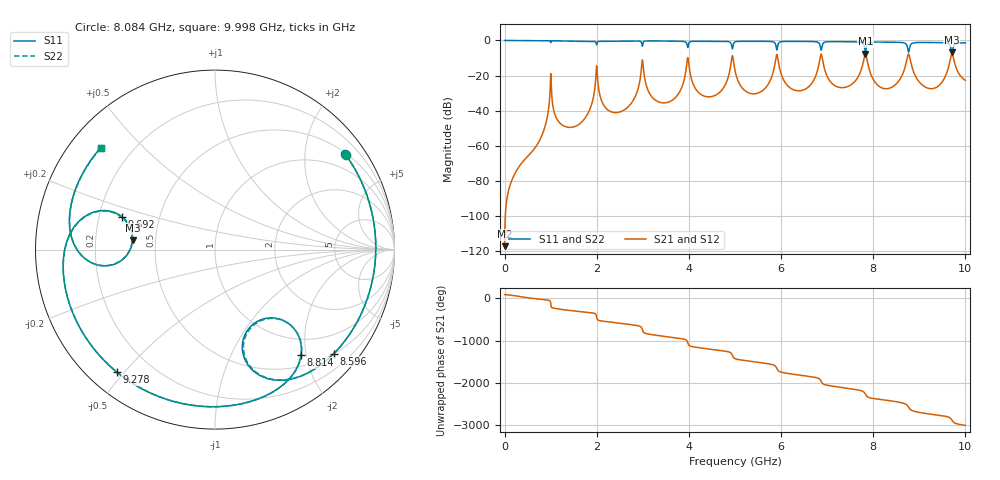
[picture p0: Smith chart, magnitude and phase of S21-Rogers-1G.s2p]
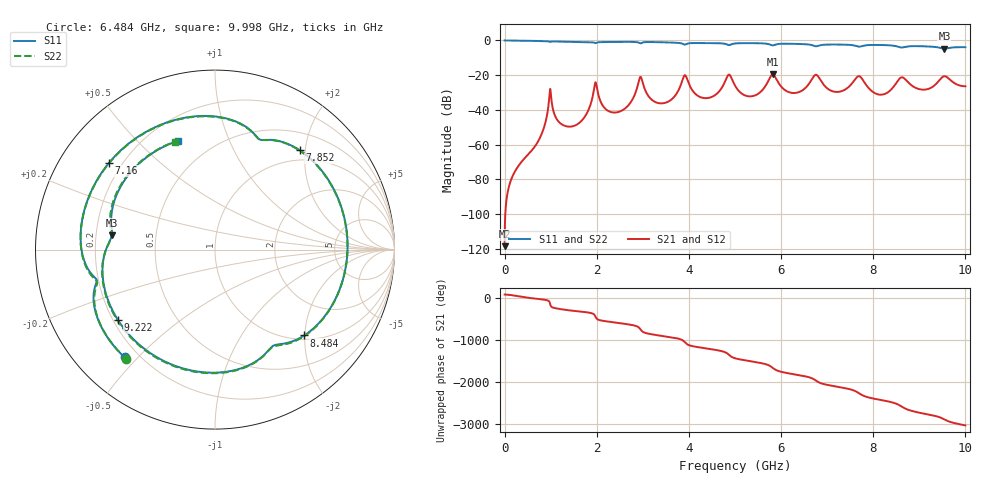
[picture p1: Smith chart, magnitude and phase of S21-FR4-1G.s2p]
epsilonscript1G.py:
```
import skrf as rf
import matplotlib.pyplot as plt
import numpy as np
from scipy.signal import find_peaks

# Parámetros físicos del resonador a 1GHZ para ROGERS4350B
R_rogers = 28.2795114977997e-3             # Radio para 1GHZ
L_rogers = 2 * np.pi * R_rogers # longitud del anillo
c = 3e8                         # Velocidad de la luz en vacio en m/s
H_rogers = 1.524e-3             # Altura del sustrato 
w_rogers = 3.309e-3             # Ancho de las pistas en metros (ejemplo 3 mm)

# Parámetros físicos del resonador a 1GHZ para FR4
R_fr4 = 26.4853775112596e-3                # Radio para 1GHZ
L_fr4 = 2 * np.pi * R_fr4       # longitud del anillo
c = 3e8                         # Velocidad de la luz en vacio en m/s
H_fr4 = 1.56e-3                 # Altura del sustrato 
w_fr4 = 2.85e-3                 # Ancho de las pistas en metros (ejemplo 3 mm)

# Modos de resonancia --> hasta 6GHZ
n_modos = [1,2,3]

# Array para los epsilon_eff y epsilon_r
epsilon_eff_rogers = np.zeros(3)
epsilon_r_rogers = np.zeros(3)

epsilon_eff_fr4 = np.zeros(3)
epsilon_r_fr4 = np.zeros(3)

# Cargar el archivo .s2p 
ntwk_rogers = rf.Network('S21-Rogers-1G.s2p')
ntwk_fr4 = rf.Network('S21-FR4-1G.s2p')

# Extraer el vector de frecuencias (en Hz)
frecuencias_rogers = ntwk_rogers.f  # En Hz
frecuencias_rogers_GHz = frecuencias_rogers / 1e9  # Opcional: convertir a GHz

frecuencias_fr4 = ntwk_fr4.f  # En Hz
frecuencias_fr4_GHz = frecuencias_fr4 / 1e9        # Opcional: convertir a GHz

# Obtener el parámetro S21 (índice [0,1]) en dB
s21_rogers = ntwk_rogers.s[:, 1, 0]                # Complejo
s21_dB_rogers = 20 * np.log10(np.abs(s21_rogers))  # Módulo en dB

s21_fr4 = ntwk_fr4.s[:, 1, 0]                      # Complejo
s21_dB_fr4 = 20 * np.log10(np.abs(s21_fr4))        # Módulo en dB

# Filtrar hasta 6 GHz (6 picos para fundamental de 1GHZ)
mask = frecuencias_rogers_GHz <= 3.5
frecuencias_filtradas_rogers = frecuencias_rogers_GHz[mask]
s21_dB_filtrado_rogers = s21_dB_rogers[mask]

mask = frecuencias_fr4_GHz <= 3.5
frecuencias_filtradas_fr4 = frecuencias_fr4_GHz[mask]
s21_dB_filtrado_fr4 = s21_dB_fr4[mask]

# Detectar picos en el rango filtrado
picos_resonancia_rogers, _ = find_peaks(s21_dB_filtrado_rogers, distance=30, prominence=3)
frecuencias_resonancia_rogers = frecuencias_filtradas_rogers[picos_resonancia_rogers]
frecuencias_resonancia_Hz_rogers = frecuencias_resonancia_rogers * 1e9  # Convertir GHz a Hz

picos_resonancia_fr4, _ = find_peaks(s21_dB_filtrado_fr4, distance=30, prominence=3)
frecuencias_resonancia_fr4 = frecuencias_filtradas_fr4[picos_resonancia_fr4]
frecuencias_resonancia_Hz_fr4 = frecuencias_resonancia_fr4 * 1e9  # Convertir GHz a Hz

# Calcular epsilon efectivo y relativo para cada frecuencia
for i in range(3): # i va de 0 a 5
	epsilon_eff_rogers[i] = (n_modos[i] * c / (2 * np.pi * R_rogers * frecuencias_resonancia_Hz_rogers[i])) ** 2
for i in range(3): # i va de 0 a 5
	epsilon_r_rogers[i] = (2 * epsilon_eff_rogers[i] - (1 - (1 / np.sqrt(1 + 12 * H_rogers / w_rogers)))) / (1 + (1 / np.sqrt(1 + 12 * H_rogers / w_rogers)))

for i in range(3): # i va de 0 a 5
	epsilon_eff_fr4[i] = (n_modos[i] * c / (2 * np.pi * R_fr4 * frecuencias_resonancia_Hz_fr4[i])) ** 2
for i in range(3): # i va de 0 a 5
	epsilon_r_fr4[i] = (2 * epsilon_eff_fr4[i] - (1 - (1 / np.sqrt(1 + 12 * H_fr4 / w_fr4)))) / (1 + (1 / np.sqrt(1 + 12 * H_fr4 / w_fr4)))

# Calcular el promedio de epsilon_r
epsilon_r_promedio_rogers = np.mean(epsilon_r_rogers)
epsilon_r_promedio_fr4 = np.mean(epsilon_r_fr4)

print("\n--- Resultados ROGERS 4350B ---")
print(f"Frecuencias de Resonancia (GHz): {frecuencias_resonancia_rogers}")
print(f"Valores de Epsilon efectivo (εeff): {epsilon_eff_rogers}")
print(f"Valores de Epsilon Relativo (εr): {epsilon_r_rogers}")
print(f"Epsilon Relativo Promedio (εr promedio): {epsilon_r_promedio_rogers:.3f}")

print("\n--- Resultados FR4 ---")
print(f"Frecuencias de Resonancia (GHz): {frecuencias_resonancia_fr4}")
print(f"Valores de Epsilon efectivo (εeff): {epsilon_eff_fr4}")
print(f"Valores de Epsilon Relativo (εr): {epsilon_r_fr4}")
print(f"Epsilon Relativo Promedio (εr promedio): {epsilon_r_promedio_fr4:.3f}")

#Grafico
plt.figure()
# Curva ROGERS 4350B
plt.plot(frecuencias_resonancia_rogers, epsilon_r_rogers, color='r', label='εr ROGERS')
plt.axhline(y=epsilon_r_promedio_rogers, color='r', linestyle='--', label=f'Promedio εr ROGERS = {epsilon_r_promedio_rogers:.3f}')
# Curva FR4
plt.plot(frecuencias_resonancia_fr4, epsilon_r_fr4, color='b', label='εr FR4')
plt.axhline(y=epsilon_r_promedio_fr4, color='b', linestyle='--', label=f'Promedio εr FR4 = {epsilon_r_promedio_fr4:.3f}')
# Etiquetas y formato
plt.xlabel('Frecuencias de resonancia(GHz)')
plt.ylabel('εr(f)')
plt.title('ROGERS 4350B vs FR4 a 1GHZ')
plt.grid(True)
plt.ylim(3, 5)
plt.legend(title='Materiales')
plt.tight_layout()
plt.show()
```
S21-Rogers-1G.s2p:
! TOUCHSTONE file generated by CST MICROWAVE STUDIO
! Date and time: Sun Jun 29 11:36:11 2025
! Project name: ResonadorAnillo.cst
! Parameters = {Eeff=2.85062; Er=3.66; H=1.524; L1=44.4214; L2=44.4214; Landa=177.685; T=0.017; W=3.30928; Wa=3.30928; X=121.031; Y=121.031; c=3e+11; f=1e+09; r=28.2795; s=0.3}
! Header version: 2024
! Port assignment regex: !\s*Touchstone port\s*([0-9]+)\s*=\s*(CST MWS port|CST DES external port|CST DES block port)\s*(.+)\s* \(\"(.*)\"\)(\s*mode\s*([0-9]+))?.*
! Touchstone port assignment:
! Touchstone port 1 = CST MWS port 1 ("")
! Touchstone port 2 = CST MWS port 2 ("")
# GHz S DB R 50
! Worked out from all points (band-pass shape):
!   5000 points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, 2 MHz to 10 GHz, reference 50 ohm
!   highest |S21| = -7.58 dB at 7.83 GHz (marker M1); lowest = -117.2 dB at 2 MHz (marker M2)
!   |S21| within 3 dB of the highest: 8.733 GHz to 8.801 GHz (67.84 MHz wide, 0.774 % of centre); 9.675 GHz to 9.745 GHz (70.49 MHz wide, 0.726 % of centre)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
!   lowest |S11| = -6.7 dB at 9.708 GHz (marker M3), VSWR 2.72, Z = 18.4 + j2.39 ohm
!   |S11| at or under -10 dB: nowhere
!   |S22| runs from -6.7 to 0.0 dB; largest |S21 - S12| = 1.4e-09
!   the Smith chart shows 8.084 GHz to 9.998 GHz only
!   S11 on the Smith chart (normalised r, x): 8.084 GHz: 0.54, +2.98; 8.596 GHz: 0.50, -2.58; 8.814 GHz: 0.69, -1.91; 9.278 GHz: 0.08, -0.48; 9.692 GHz: 0.30, +0.16; 9.998 GHz: 0.09, +0.38
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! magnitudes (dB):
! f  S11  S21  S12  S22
! 2 MHz  0.0  -117.2  -117.2  0.0
! 5.002 GHz  -0.8  -17.2  -17.2  -0.8
! 7.83 GHz  -6.3  -7.6  -7.6  -5.9
! 8.084 GHz  -0.9  -25.2  -25.2  -0.9
! 8.596 GHz  -1.1  -21.4  -21.4  -1.1
! 8.814 GHz  -2.4  -12.1  -12.1  -2.4
! 9.278 GHz  -1.2  -27.5  -27.5  -1.2
! 9.692 GHz  -5.2  -8.7  -8.7  -5.2
! 9.708 GHz  -6.7  -7.8  -7.8  -6.7
! 9.998 GHz  -1.4  -22.7  -22.7  -1.4
! 10 GHz  -1.4  -22.7  -22.7  -1.4
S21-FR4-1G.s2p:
! TOUCHSTONE file generated by CST MICROWAVE STUDIO
! Date and time: Sun Jun 29 15:01:49 2025
! Project name: ResonadorAnillo.cst
! Parameters = {Eeff=3.2499; Er=4.3; H=1.56; L1=41.6031; L2=41.6031; Landa=166.413; T=0.035; W=2.85151; Wa=2.85151; X=113.143; Y=113.143; c=3e+11; f=1e+09; r=26.4854; s=0.3}
! Header version: 2024
! Port assignment regex: !\s*Touchstone port\s*([0-9]+)\s*=\s*(CST MWS port|CST DES external port|CST DES block port)\s*(.+)\s* \(\"(.*)\"\)(\s*mode\s*([0-9]+))?.*
! Touchstone port assignment:
! Touchstone port 1 = CST MWS port 1 ("")
! Touchstone port 2 = CST MWS port 2 ("")
# GHz S DB R 50
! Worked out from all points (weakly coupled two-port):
!   5000 points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, 2 MHz to 10 GHz, reference 50 ohm
!   highest |S21| = -19.61 dB at 5.818 GHz (marker M1); lowest = -118.6 dB at 2 MHz (marker M2)
!   lowest |S11| = -4.7 dB at 9.546 GHz (marker M3), VSWR 3.76, Z = 13.4 + j3.25 ohm
!   |S11| at or under -10 dB: nowhere
!   |S22| runs from -4.7 to 0.0 dB; largest |S21 - S12| = 1.4e-12
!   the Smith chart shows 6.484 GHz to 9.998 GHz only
!   S11 on the Smith chart (normalised r, x): 6.484 GHz: 0.15, -0.46; 7.16 GHz: 0.15, +0.35; 7.852 GHz: 0.80, +1.89; 8.484 GHz: 1.09, -1.99; 9.222 GHz: 0.22, -0.31; 9.998 GHz: 0.32, +0.67
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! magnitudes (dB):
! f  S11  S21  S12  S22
! 2 MHz  0.0  -118.6  -118.6  0.0
! 5.002 GHz  -1.7  -26.0  -26.0  -1.7
! 5.818 GHz  -2.8  -19.6  -19.6  -2.8
! 6.484 GHz  -2.1  -28.4  -28.4  -2.1
! 7.16 GHz  -2.3  -29.6  -29.6  -2.4
! 7.852 GHz  -2.8  -25.8  -25.8  -2.8
! 8.484 GHz  -3.2  -25.1  -25.1  -3.2
! 9.222 GHz  -3.5  -27.7  -27.7  -3.5
! 9.546 GHz  -4.7  -20.6  -20.6  -4.7
! 9.998 GHz  -3.9  -26.4  -26.4  -3.9
! 10 GHz  -3.9  -26.4  -26.4  -3.9
